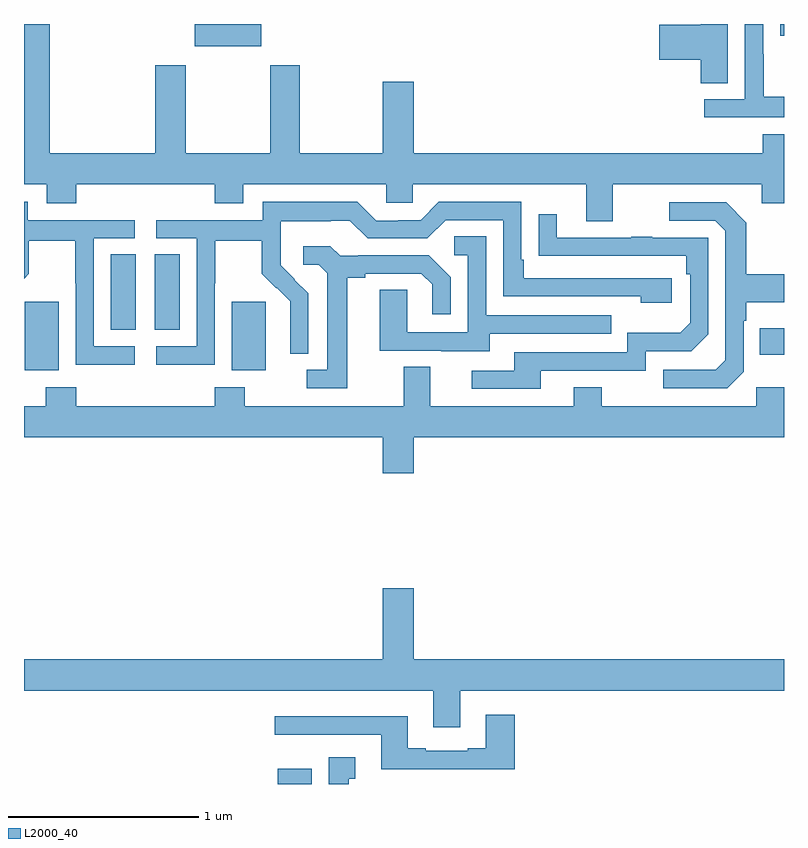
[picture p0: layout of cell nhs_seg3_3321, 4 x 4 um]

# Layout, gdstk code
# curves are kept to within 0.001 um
import gdstk
lib = gdstk.Library(unit=1e-6, precision=1e-09)
def R(c, l, rs):  # rectangles x0, y0, x1, y1
    for r in rs: c.add(gdstk.rectangle(r[:2], r[2:], *l))
def P(c, l, *ps):  # polygons
    for p in ps: c.add(gdstk.Polygon(p, *l))
L2000_40 = (2000, 40)

nhs_seg3_3321 = lib.new_cell('nhs_seg3_3321')
R(nhs_seg3_3321, L2000_40, [(284.336,724.4,284.515,724.48), (283.004,726.578,283.183,726.939), (284.093,726.578,284.272,726.939), (286.873,726.659,287,726.799), (283.457,726.79,283.588,727.187), (283.688,726.79,283.819,727.187), (283.898,728.282,284.248,728.4), (286.979,728.337,287,728.4)])
P(nhs_seg3_3321, L2000_40, [(287,728.017),(286.893,728.017),(286.893,728.24),(286.89,728.24),(286.89,728.4),(286.794,728.4),(286.794,728.004),(286.581,728.004),(286.581,727.908),(287,727.908)],
  [(286.099,727.556),(286.883,727.556),(286.883,727.457),(287,727.457),(287,727.819),(286.889,727.819),(286.889,727.72),(285.052,727.72),(285.052,728.095),(284.888,728.095),(284.888,727.72),(284.451,727.72),(284.451,728.182),(284.296,728.182),(284.296,727.72),(283.851,727.72),(283.851,728.182),(283.691,728.182),(283.691,727.72),(283.136,727.72),(283.136,728.4),(283,728.4),(283,727.556),(283.121,727.556),(283.121,727.457),(283.274,727.457),(283.274,727.556),(284.003,727.556),(284.003,727.457),(284.155,727.457),(284.155,727.556),(284.907,727.556),(284.907,727.458),(285.045,727.458),(285.045,727.556),(285.959,727.556),(285.959,727.362),(286.099,727.362)],
  [(286.705,728.4),(286.562,728.4),(286.562,728.396),(286.344,728.396),(286.344,728.213),(286.562,728.213),(286.562,728.089),(286.705,728.089)],
  [(283.582,726.705),(283.368,726.705),(283.368,727.272),(283.582,727.272),(283.582,727.368),(283.02,727.368),(283.02,727.465),(283,727.465),(283,727.06),(283.025,727.085),(283.025,727.26),(283.27,727.26),(283.27,727.036),(283.272,727.036),(283.272,726.607),(283.582,726.607)],
  [(284.004,727.036),(284.007,727.036),(284.007,727.26),(284.251,727.26),(284.251,727.085),(284.328,727.008),(284.331,727.011),(284.402,726.941),(284.402,726.818),(284.4,726.818),(284.4,726.664),(284.496,726.664),(284.496,726.982),(284.35,727.13),(284.35,727.227),(284.352,727.227),(284.352,727.361),(284.615,727.361),(284.615,727.365),(284.715,727.365),(284.808,727.272),(285.123,727.272),(285.219,727.368),(285.522,727.368),(285.522,726.966),(286.247,726.966),(286.247,726.932),(286.408,726.932),(286.408,727.062),(285.631,727.062),(285.631,727.159),(285.618,727.159),(285.618,727.464),(285.183,727.464),(285.087,727.368),(284.969,727.368),(284.969,727.365),(284.853,727.365),(284.753,727.465),(284.256,727.465),(284.256,727.368),(283.695,727.368),(283.695,727.272),(283.908,727.272),(283.908,726.705),(283.695,726.705),(283.695,726.607),(284.004,726.607)],
  [(286.788,726.57),(286.788,726.839),(286.801,726.839),(286.801,726.935),(287,726.935),(287,727.083),(286.801,727.083),(286.801,727.355),(286.695,727.461),(286.395,727.461),(286.395,727.365),(286.638,727.365),(286.692,727.311),(286.692,726.63),(286.641,726.579),(286.365,726.579),(286.365,726.483),(286.701,726.483)],
  [(285.721,726.576),(286.272,726.576),(286.272,726.678),(286.512,726.678),(286.602,726.768),(286.602,727.275),(286.307,727.275),(286.307,727.28),(286.195,727.28),(286.195,727.275),(285.805,727.275),(285.805,727.399),(285.709,727.399),(285.709,727.18),(286.486,727.179),(286.486,727.082),(286.506,727.082),(286.506,726.828),(286.453,726.775),(286.176,726.775),(286.176,726.672),(285.581,726.672),(285.581,726.576),(285.357,726.576),(285.357,726.48),(285.721,726.48)],
  [(285.451,726.771),(286.091,726.771),(286.091,726.867),(285.432,726.867),(285.432,727.283),(285.264,727.283),(285.264,727.182),(285.336,727.182),(285.336,726.777),(285.018,726.777),(285.018,727.001),(284.873,727.001),(284.873,726.681),(285.197,726.681),(285.197,726.677),(285.451,726.677)],
  [(284.701,727.064),(284.797,727.064),(284.797,727.086),(285.092,727.086),(285.149,727.029),(285.149,726.873),(285.246,726.873),(285.246,727.066),(285.13,727.182),(284.758,727.182),(284.758,727.179),(284.664,727.179),(284.612,727.231),(284.469,727.231),(284.469,727.134),(284.55,727.134),(284.597,727.087),(284.597,726.579),(284.487,726.579),(284.487,726.483),(284.701,726.483)],
  [(285.052,726.224),(287,726.224),(287,726.487),(286.854,726.487),(286.854,726.388),(286.041,726.388),(286.041,726.487),(285.893,726.487),(285.893,726.388),(285.139,726.388),(285.139,726.596),(284.999,726.596),(284.999,726.388),(284.163,726.388),(284.163,726.487),(284.003,726.487),(284.003,726.388),(283.274,726.388),(283.274,726.487),(283.114,726.487),(283.114,726.388),(283,726.388),(283,726.224),(284.888,726.224),(284.888,726.036),(285.052,726.036)],
  [(285.295,724.892),(287,724.892),(287,725.056),(285.052,725.056),(285.052,725.431),(284.888,725.431),(284.888,725.056),(283,725.056),(283,724.892),(285.155,724.892),(285.155,724.698),(285.295,724.698)],
  [(285.584,724.765),(285.431,724.765),(285.431,724.588),(285.335,724.588),(285.335,724.575),(285.115,724.575),(285.115,724.588),(285.019,724.588),(285.019,724.756),(284.319,724.756),(284.319,724.659),(284.879,724.659),(284.879,724.478),(285.584,724.478)],
  [(284.71,724.427),(284.743,724.427),(284.743,724.54),(284.603,724.54),(284.603,724.4),(284.71,724.4)])

lib.write_gds('nhs_seg3_3321.gds')
